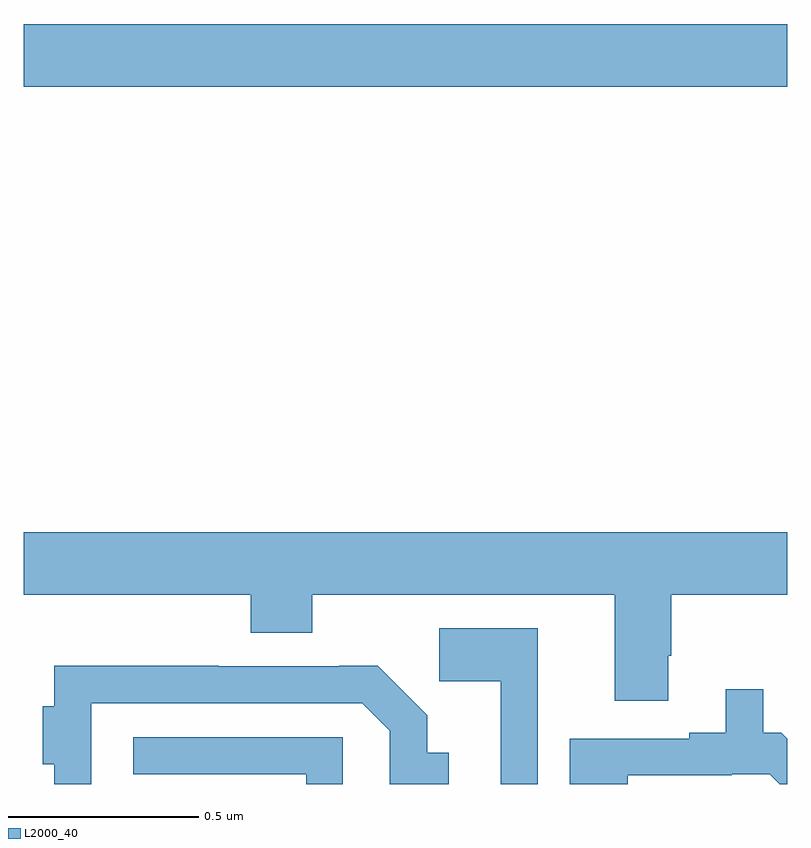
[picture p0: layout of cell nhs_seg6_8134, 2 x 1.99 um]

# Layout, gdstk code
import gdstk
lib = gdstk.Library(unit=1e-6, precision=1e-09)
def R(c, l, rs):  # rectangles x0, y0, x1, y1
    for r in rs: c.add(gdstk.rectangle(r[:2], r[2:], *l))
def P(c, l, *ps):  # polygons
    for p in ps: c.add(gdstk.Polygon(p, *l))
L2000_40 = (2000, 40)

nhs_seg6_8134 = lib.new_cell('nhs_seg6_8134')
R(nhs_seg6_8134, L2000_40, [(217,955.328,219,955.492)])
P(nhs_seg6_8134, L2000_40, [(218.689,953.836),(218.697,953.836),(218.697,953.996),(219,953.996),(219,954.16),(217,954.16),(217,953.996),(217.595,953.996),(217.595,953.897),(217.755,953.897),(217.755,953.996),(218.549,953.996),(218.549,953.718),(218.689,953.718)],
  [(218.346,953.908),(218.088,953.908),(218.088,953.769),(218.249,953.769),(218.249,953.5),(218.346,953.5)],
  [(217.176,953.712),(217.887,953.712),(217.959,953.64),(217.959,953.5),(218.113,953.5),(218.113,953.582),(218.057,953.582),(218.057,953.68),(217.927,953.81),(217.826,953.81),(217.826,953.808),(217.511,953.808),(217.511,953.81),(217.08,953.81),(217.08,953.704),(217.049,953.704),(217.049,953.552),(217.08,953.552),(217.08,953.5),(217.176,953.5)],
  [(218.583,953.523),(218.855,953.523),(218.855,953.526),(218.955,953.526),(218.981,953.5),(219,953.5),(219,953.619),(218.985,953.634),(218.938,953.634),(218.938,953.749),(218.84,953.749),(218.84,953.634),(218.744,953.634),(218.744,953.619),(218.431,953.619),(218.431,953.5),(218.583,953.5)],
  [(217.836,953.622),(217.287,953.622),(217.287,953.526),(217.74,953.526),(217.74,953.5),(217.836,953.5)])

lib.write_gds('nhs_seg6_8134.gds')
